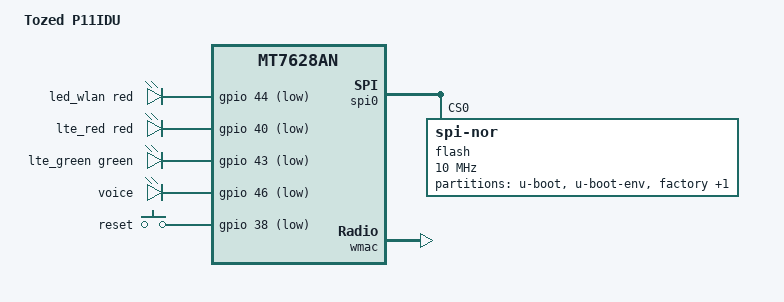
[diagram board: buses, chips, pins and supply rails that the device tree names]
// SPDX-License-Identifier: GPL-2.0-or-later OR MIT
/*
 * Tozed P11IDU - indoor CPE unit (Dialog, Sri Lanka)
 *
 * MediaTech MT7628AN, 16 MiB SPI-NOR, 1x 2.4 GHz radio, 5x 10/100
 * Ethernet ports wired to the integrated rt3050-esw switch.
 *
 * This device tree was recovered from the running unit by decompiling
 * /sys/firmware/fdt and re-expressing the device-specific nodes against
 * the current mt7628an.dtsi. See ../../../../../hardware/README.md for
 * the provenance of every node below.
 *
 * Copyright (C) 2026 Nipun Methmal
 */

#include "mt7628an.dtsi"

#include <dt-bindings/input/input.h>
#include <dt-bindings/gpio/gpio.h>
#include <dt-bindings/leds/common.h>

/ {
	compatible = "tozed,p11idu", "mediatek,mt7628an-soc";
	model = "Tozed P11IDU";

	aliases {
		led-boot = &led_wlan;
		led-failsafe = &led_wlan;
		led-running = &led_wlan;
		led-upgrade = &led_wlan;
		label-mac-device = &ethernet;
	};

	chosen {
		bootargs = "console=ttyS0,57600";
	};

	leds {
		compatible = "gpio-leds";

		led_wlan: wlan {
			function = LED_FUNCTION_WLAN;
			color = <LED_COLOR_ID_RED>;
			gpios = <&gpio 44 GPIO_ACTIVE_LOW>;
		};

		lte_red {
			function = LED_FUNCTION_WAN;
			color = <LED_COLOR_ID_RED>;
			gpios = <&gpio 40 GPIO_ACTIVE_LOW>;
		};

		lte_green {
			function = LED_FUNCTION_WAN;
			color = <LED_COLOR_ID_GREEN>;
			gpios = <&gpio 43 GPIO_ACTIVE_LOW>;
		};

		voice {
			label = "voice";
			gpios = <&gpio 46 GPIO_ACTIVE_LOW>;
		};
	};

	keys {
		compatible = "gpio-keys";

		reset {
			label = "reset";
			gpios = <&gpio 38 GPIO_ACTIVE_LOW>;
			linux,code = <KEY_RESTART>;
		};
	};
};

&spi0 {
	status = "okay";

	flash@0 {
		compatible = "jedec,spi-nor";
		reg = <0>;
		spi-max-frequency = <10000000>;

		partitions {
			compatible = "fixed-partitions";
			#address-cells = <1>;
			#size-cells = <1>;

			partition@0 {
				label = "u-boot";
				reg = <0x0 0x30000>;
				read-only;
			};

			partition@30000 {
				label = "u-boot-env";
				reg = <0x30000 0x10000>;
				read-only;
			};

			partition@40000 {
				label = "factory";
				reg = <0x40000 0x10000>;
				read-only;

				nvmem-layout {
					compatible = "fixed-layout";
					#address-cells = <1>;
					#size-cells = <1>;

					eeprom_factory_0: eeprom@0 {
						reg = <0x0 0x400>;
					};

					/*
					 * Second MAC cell, stored at 0x4. No node
					 * references it: board.d/02_network derives
					 * wan_mac from the 0x28 cell instead.
					 */
					macaddr@4 {
						compatible = "mac-base";
						reg = <0x4 0x6>;
						#nvmem-cell-cells = <1>;
					};

					macaddr_factory_28: macaddr@28 {
						compatible = "mac-base";
						reg = <0x28 0x6>;
						#nvmem-cell-cells = <1>;
					};
				};
			};

			partition@50000 {
				compatible = "denx,uimage";
				label = "firmware";
				reg = <0x50000 0xfb0000>;
			};
		};
	};
};

&state_default {
	gpio {
		groups = "gpio", "i2s", "uart1", "wled_an", "p0led_an", "p3led_an", "wdt";
		function = "gpio";
	};
};

&wmac {
	nvmem-cells = <&eeprom_factory_0>;
	nvmem-cell-names = "eeprom";
	status = "okay";
};

&ethernet {
	nvmem-cells = <&macaddr_factory_28 0>;
	nvmem-cell-names = "mac-address";
};

&sdhci {
	status = "disabled";
};

&watchdog {
	status = "disabled";
};
